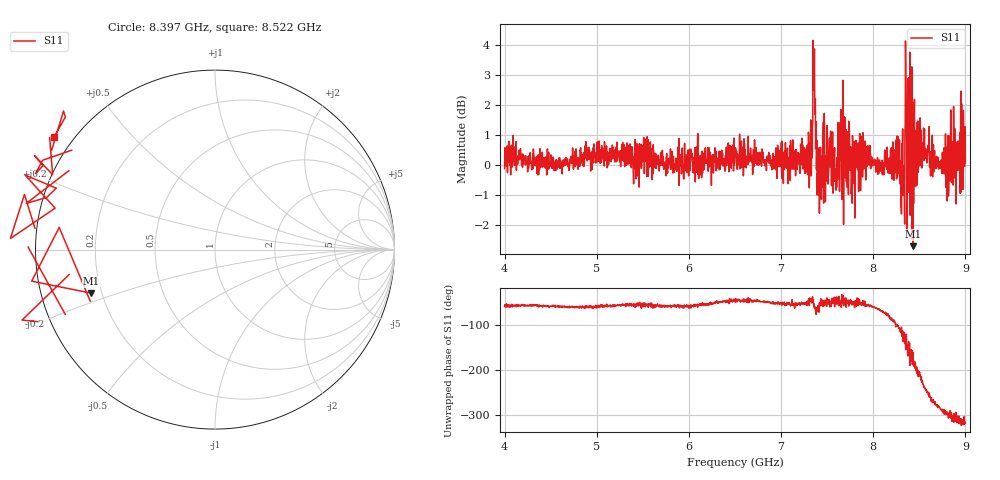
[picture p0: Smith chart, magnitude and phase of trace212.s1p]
! Created with skrf 1.8.0 (http://scikit-rf.org).
# Hz S RI R 50.0
!freq ReS11 ImS11
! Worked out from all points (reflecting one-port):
!   1601 points, 4 GHz to 9 GHz, reference 50 ohm
!   lowest |S11| = -2.7 dB at 8.431 GHz (marker M1), VSWR 6.46, Z = 7.95 - j8.31 ohm
!   phase of S11 starts at -59 deg and turns -259 deg over the sweep
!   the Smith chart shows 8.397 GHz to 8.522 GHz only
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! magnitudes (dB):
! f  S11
! 4 GHz  -0.1
! 4.625 GHz  -0.3
! 5.25 GHz  0.1
! 5.875 GHz  0.0
! 6.5 GHz  0.3
! 7.125 GHz  0.7
! 7.294 GHz  0.5
! 7.316 GHz  -0.4
! 7.356 GHz  3.8
! 7.372 GHz  2.2
! 7.4 GHz  0.2
! 7.416 GHz  -1.6
! 7.525 GHz  0.9
! 7.609 GHz  0.3
! 7.669 GHz  1.5
! 7.75 GHz  0.0
! 8.097 GHz  0.2
! 8.262 GHz  -0.4
! 8.316 GHz  0.1
! 8.334 GHz  -0.7
! 8.347 GHz  1.3
! 8.375 GHz  2.6
! 8.406 GHz  0.6
! 8.431 GHz  -2.7
! 8.503 GHz  0.0
! 8.803 GHz  -1.2
! 8.972 GHz  0.5
! 9 GHz  0.1
